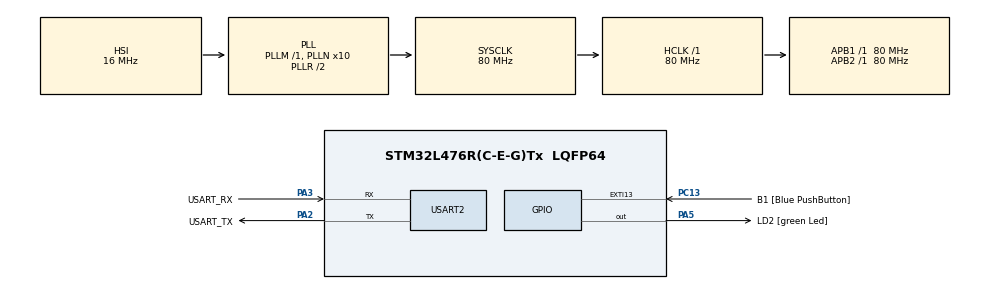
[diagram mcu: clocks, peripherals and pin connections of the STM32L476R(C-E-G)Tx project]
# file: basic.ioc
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Mcu.Family=STM32L4
Mcu.Name=STM32L476R(C-E-G)Tx
Mcu.Package=LQFP64
NVIC.EXTI15_10_IRQn=true\:0\:0\:false\:false\:true
NVIC.PriorityGroup=NVIC_PRIORITYGROUP_4
PA13.GPIO_Label=TMS
PA13.Signal=SYS_JTMS-SWDIO
PA14.GPIO_Label=TCK
PA14.Signal=SYS_JTCK-SWCLK
PA2.GPIO_Label=USART_TX
PA2.GPIO_Mode=GPIO_MODE_AF_PP
PA2.GPIO_PuPd=GPIO_NOPULL
PA2.GPIO_Speed=GPIO_SPEED_FREQ_VERY_HIGH
PA2.Mode=Asynchronous
PA2.Signal=USART2_TX
PA3.GPIO_Label=USART_RX
PA3.GPIO_Mode=GPIO_MODE_AF_PP
PA3.GPIO_PuPd=GPIO_NOPULL
PA3.GPIO_Speed=GPIO_SPEED_FREQ_VERY_HIGH
PA3.Mode=Asynchronous
PA3.Signal=USART2_RX
PA5.GPIO_Label=LD2 [green Led]
PA5.GPIO_ModeDefaultOutputPP=GPIO_MODE_OUTPUT_PP
PA5.GPIO_PuPd=GPIO_NOPULL
PA5.GPIO_Speed=GPIO_SPEED_FREQ_LOW
PA5.Signal=GPIO_Output
PB3.GPIO_Label=SWO
PB3.Signal=SYS_JTDO-SWO
PC13.GPIO_Label=B1 [Blue PushButton]
PC13.GPIO_ModeDefaultEXTI=GPIO_MODE_IT_FALLING
PC13.GPIO_PuPd=GPIO_NOPULL
PC13.Signal=GPXTI13
PC14/OSC32_IN.Signal=RCC_OSC32_IN
PC15/OSC32_OUT.Signal=RCC_OSC32_OUT
PH0/OSC_IN.Signal=RCC_OSC_IN
PH1/OSC_OUT.Signal=RCC_OSC_OUT
ProjectManager.HeapSize=0x200
ProjectManager.StackSize=0x400
ProjectManager.TargetToolchain=MDK-ARM V5
RCC.ADCFreq_Value=64000000
RCC.AHBFreq_Value=80000000
RCC.APB1Freq_Value=80000000
RCC.APB1TimFreq_Value=80000000
RCC.APB2Freq_Value=80000000
RCC.APB2TimFreq_Value=80000000
RCC.CortexFreq_Value=80000000
RCC.HCLKFreq_Value=80000000
RCC.HSE_VALUE=8000000
RCC.HSI_VALUE=16000000
RCC.LSE_VALUE=32768
RCC.MSI_VALUE=4000000
RCC.PLLN=10
RCC.PLLSourceVirtual=RCC_PLLSOURCE_HSI
RCC.PREFETCH_ENABLE=1
RCC.SYSCLKFreq_VALUE=80000000
RCC.SYSCLKSource=RCC_SYSCLKSOURCE_PLLCLK
RCC.USBFreq_Value=64000000
RCC.VCOOutputFreq_Value=160000000
USART2.WordLength=UART_WORDLENGTH_8B
board=NUCLEO-L476RG

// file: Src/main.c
/**
  ******************************************************************************
  * File Name          : main.c
  * Description        : Main program body
  ******************************************************************************
  *
  * COPYRIGHT(c) 2017 STMicroelectronics
  *
  * Redistribution and use in source and binary forms, with or without modification,
  * are permitted provided that the following conditions are met:
  *   1. Redistributions of source code must retain the above copyright notice,
  *      this list of conditions and the following disclaimer.
  *   2. Redistributions in binary form must reproduce the above copyright notice,
  *      this list of conditions and the following disclaimer in the documentation
  *      and/or other materials provided with the distribution.
  *   3. Neither the name of STMicroelectronics nor the names of its contributors
  *      may be used to endorse or promote products derived from this software
  *      without specific prior written permission.
  *
  * THIS SOFTWARE IS PROVIDED BY THE COPYRIGHT HOLDERS AND CONTRIBUTORS "AS IS"
  * AND ANY EXPRESS OR IMPLIED WARRANTIES, INCLUDING, BUT NOT LIMITED TO, THE
  * IMPLIED WARRANTIES OF MERCHANTABILITY AND FITNESS FOR A PARTICULAR PURPOSE ARE
  * DISCLAIMED. IN NO EVENT SHALL THE COPYRIGHT HOLDER OR CONTRIBUTORS BE LIABLE
  * FOR ANY DIRECT, INDIRECT, INCIDENTAL, SPECIAL, EXEMPLARY, OR CONSEQUENTIAL
  * DAMAGES (INCLUDING, BUT NOT LIMITED TO, PROCUREMENT OF SUBSTITUTE GOODS OR
  * SERVICES; LOSS OF USE, DATA, OR PROFITS; OR BUSINESS INTERRUPTION) HOWEVER
  * CAUSED AND ON ANY THEORY OF LIABILITY, WHETHER IN CONTRACT, STRICT LIABILITY,
  * OR TORT (INCLUDING NEGLIGENCE OR OTHERWISE) ARISING IN ANY WAY OUT OF THE USE
  * OF THIS SOFTWARE, EVEN IF ADVISED OF THE POSSIBILITY OF SUCH DAMAGE.
  *
  ******************************************************************************
  */
#include "main.h"
#include "stm32l4xx_hal.h"

/* USER CODE BEGIN Includes */
#include <string.h>
#include "led_blink.h"
#include "button_control.h"
#include "print.h"

/* USER CODE END Includes */

UART_HandleTypeDef huart2;

/* USER CODE BEGIN PV */
/* Private variables ---------------------------------------------------------*/
#define COUNT_OF(x) (sizeof(x) / sizeof(x[0]))

// Array for storing LED blink rates
uint16_t led_blink_rate[] = {1000, 500, 250, 100};

/* USER CODE END PV */

void SystemClock_Config(void);
void Error_Handler(void);
static void MX_GPIO_Init(void);
static void MX_USART2_UART_Init(void);

/* USER CODE BEGIN PFP */
/* Private function prototypes -----------------------------------------------*/

/* USER CODE END PFP */

int main(void)
{

  /* USER CODE BEGIN 1 */
  const char msg2[16];
  uint8_t cur_led_rate = 0;

  /* USER CODE END 1 */

  /* MCU Configuration----------------------------------------------------------*/

  /* Reset of all peripherals, Initializes the Flash interface and the Systick. */
  HAL_Init();

  /* Configure the system clock */
  SystemClock_Config();

  /* Initialize all configured peripherals */
  MX_GPIO_Init();
  MX_USART2_UART_Init();

  /* USER CODE BEGIN 2 */
  ButtonControl_SetUpRateRange(COUNT_OF(led_blink_rate));
  debug_uart_print("Please, enter something\n");
  uart2_scanf("%s", msg2);
  debug_uart_print("Scanf got: %s\n", msg2);
  /* USER CODE END 2 */

  /* Infinite loop */
  while (1)
  {

  /* USER CODE BEGIN 3 */
    cur_led_rate = ButtonControl_GetRate();
    LED_Toggle_Timeout(led_blink_rate[cur_led_rate]);
    debug_uart_print("Current LED blink rate: %d ms\n", led_blink_rate[cur_led_rate]);
  }
  /* USER CODE END 3 */

}

/** System Clock Configuration
*/
void SystemClock_Config(void)
{

  RCC_OscInitTypeDef RCC_OscInitStruct;
  RCC_ClkInitTypeDef RCC_ClkInitStruct;
  RCC_PeriphCLKInitTypeDef PeriphClkInit;

    /**Initializes the CPU, AHB and APB busses clocks
    */
  RCC_OscInitStruct.OscillatorType = RCC_OSCILLATORTYPE_HSI;
  RCC_OscInitStruct.HSIState = RCC_HSI_ON;
  RCC_OscInitStruct.HSICalibrationValue = 16;
  RCC_OscInitStruct.PLL.PLLState = RCC_PLL_ON;
  RCC_OscInitStruct.PLL.PLLSource = RCC_PLLSOURCE_HSI;
  RCC_OscInitStruct.PLL.PLLM = 1;
  RCC_OscInitStruct.PLL.PLLN = 10;
  RCC_OscInitStruct.PLL.PLLP = RCC_PLLP_DIV7;
  RCC_OscInitStruct.PLL.PLLQ = RCC_PLLQ_DIV2;
  RCC_OscInitStruct.PLL.PLLR = RCC_PLLR_DIV2;
  if (HAL_RCC_OscConfig(&RCC_OscInitStruct) != HAL_OK)
  {
    Error_Handler();
  }

    /**Initializes the CPU, AHB and APB busses clocks
    */
  RCC_ClkInitStruct.ClockType = RCC_CLOCKTYPE_HCLK|RCC_CLOCKTYPE_SYSCLK
                              |RCC_CLOCKTYPE_PCLK1|RCC_CLOCKTYPE_PCLK2;
  RCC_ClkInitStruct.SYSCLKSource = RCC_SYSCLKSOURCE_PLLCLK;
  RCC_ClkInitStruct.AHBCLKDivider = RCC_SYSCLK_DIV1;
  RCC_ClkInitStruct.APB1CLKDivider = RCC_HCLK_DIV1;
  RCC_ClkInitStruct.APB2CLKDivider = RCC_HCLK_DIV1;

  if (HAL_RCC_ClockConfig(&RCC_ClkInitStruct, FLASH_LATENCY_4) != HAL_OK)
  {
    Error_Handler();
  }

  PeriphClkInit.PeriphClockSelection = RCC_PERIPHCLK_USART2;
  PeriphClkInit.Usart2ClockSelection = RCC_USART2CLKSOURCE_PCLK1;
  if (HAL_RCCEx_PeriphCLKConfig(&PeriphClkInit) != HAL_OK)
  {
    Error_Handler();
  }

    /**Configure the main internal regulator output voltage
    */
  if (HAL_PWREx_ControlVoltageScaling(PWR_REGULATOR_VOLTAGE_SCALE1) != HAL_OK)
  {
    Error_Handler();
  }

    /**Configure the Systick interrupt time
    */
  HAL_SYSTICK_Config(HAL_RCC_GetHCLKFreq()/1000);

    /**Configure the Systick
    */
  HAL_SYSTICK_CLKSourceConfig(SYSTICK_CLKSOURCE_HCLK);

  /* SysTick_IRQn interrupt configuration */
  HAL_NVIC_SetPriority(SysTick_IRQn, 0, 0);
}

/* USART2 init function */
static void MX_USART2_UART_Init(void)
{

  huart2.Instance = USART2;
  huart2.Init.BaudRate = 115200;
  huart2.Init.WordLength = UART_WORDLENGTH_8B;
  huart2.Init.StopBits = UART_STOPBITS_1;
  huart2.Init.Parity = UART_PARITY_NONE;
  huart2.Init.Mode = UART_MODE_TX_RX;
  huart2.Init.HwFlowCtl = UART_HWCONTROL_NONE;
  huart2.Init.OverSampling = UART_OVERSAMPLING_16;
  huart2.Init.OneBitSampling = UART_ONE_BIT_SAMPLE_DISABLE;
  huart2.AdvancedInit.AdvFeatureInit = UART_ADVFEATURE_NO_INIT;
  if (HAL_UART_Init(&huart2) != HAL_OK)
  {
    Error_Handler();
  }

}

/** Configure pins as
        * Analog
        * Input
        * Output
        * EVENT_OUT
        * EXTI
        * Free pins are configured automatically as Analog (this feature is enabled through
        * the Code Generation settings)
*/
static void MX_GPIO_Init(void)
{

  GPIO_InitTypeDef GPIO_InitStruct;

  /* GPIO Ports Clock Enable */
  __HAL_RCC_GPIOC_CLK_ENABLE();
  __HAL_RCC_GPIOH_CLK_ENABLE();
  __HAL_RCC_GPIOA_CLK_ENABLE();
  __HAL_RCC_GPIOB_CLK_ENABLE();
  __HAL_RCC_GPIOD_CLK_ENABLE();

  /*Configure GPIO pin Output Level */
  HAL_GPIO_WritePin(LD2_GPIO_Port, LD2_Pin, GPIO_PIN_RESET);

  /*Configure GPIO pin : B1_Pin */
  GPIO_InitStruct.Pin = B1_Pin;
  GPIO_InitStruct.Mode = GPIO_MODE_IT_FALLING;
  GPIO_InitStruct.Pull = GPIO_NOPULL;
  HAL_GPIO_Init(B1_GPIO_Port, &GPIO_InitStruct);

  /*Configure GPIO pins : PC0 PC1 PC2 PC3
                           PC4 PC5 PC6 PC7
                           PC8 PC9 PC10 PC11
                           PC12 */
  GPIO_InitStruct.Pin = GPIO_PIN_0|GPIO_PIN_1|GPIO_PIN_2|GPIO_PIN_3
                          |GPIO_PIN_4|GPIO_PIN_5|GPIO_PIN_6|GPIO_PIN_7
                          |GPIO_PIN_8|GPIO_PIN_9|GPIO_PIN_10|GPIO_PIN_11
                          |GPIO_PIN_12;
  GPIO_InitStruct.Mode = GPIO_MODE_ANALOG;
  GPIO_InitStruct.Pull = GPIO_NOPULL;
  HAL_GPIO_Init(GPIOC, &GPIO_InitStruct);

  /*Configure GPIO pins : PA0 PA1 PA4 PA6
                           PA7 PA8 PA9 PA10
                           PA11 PA12 PA15 */
  GPIO_InitStruct.Pin = GPIO_PIN_0|GPIO_PIN_1|GPIO_PIN_4|GPIO_PIN_6
                          |GPIO_PIN_7|GPIO_PIN_8|GPIO_PIN_9|GPIO_PIN_10
                          |GPIO_PIN_11|GPIO_PIN_12|GPIO_PIN_15;
  GPIO_InitStruct.Mode = GPIO_MODE_ANALOG;
  GPIO_InitStruct.Pull = GPIO_NOPULL;
  HAL_GPIO_Init(GPIOA, &GPIO_InitStruct);

  /*Configure GPIO pin : LD2_Pin */
  GPIO_InitStruct.Pin = LD2_Pin;
  GPIO_InitStruct.Mode = GPIO_MODE_OUTPUT_PP;
  GPIO_InitStruct.Pull = GPIO_NOPULL;
  GPIO_InitStruct.Speed = GPIO_SPEED_FREQ_LOW;
  HAL_GPIO_Init(LD2_GPIO_Port, &GPIO_InitStruct);

  /*Configure GPIO pins : PB0 PB1 PB2 PB10
                           PB11 PB12 PB13 PB14
                           PB15 PB4 PB5 PB6
                           PB7 PB8 PB9 */
  GPIO_InitStruct.Pin = GPIO_PIN_0|GPIO_PIN_1|GPIO_PIN_2|GPIO_PIN_10
                          |GPIO_PIN_11|GPIO_PIN_12|GPIO_PIN_13|GPIO_PIN_14
                          |GPIO_PIN_15|GPIO_PIN_4|GPIO_PIN_5|GPIO_PIN_6
                          |GPIO_PIN_7|GPIO_PIN_8|GPIO_PIN_9;
  GPIO_InitStruct.Mode = GPIO_MODE_ANALOG;
  GPIO_InitStruct.Pull = GPIO_NOPULL;
  HAL_GPIO_Init(GPIOB, &GPIO_InitStruct);

  /*Configure GPIO pin : PD2 */
  GPIO_InitStruct.Pin = GPIO_PIN_2;
  GPIO_InitStruct.Mode = GPIO_MODE_ANALOG;
  GPIO_InitStruct.Pull = GPIO_NOPULL;
  HAL_GPIO_Init(GPIOD, &GPIO_InitStruct);

  /* EXTI interrupt init*/
  HAL_NVIC_SetPriority(EXTI15_10_IRQn, 0, 0);
  HAL_NVIC_EnableIRQ(EXTI15_10_IRQn);

}

void Error_Handler(void)
{
  while(1)
  {
  }
}

/************************ (C) COPYRIGHT STMicroelectronics *****END OF FILE****/
